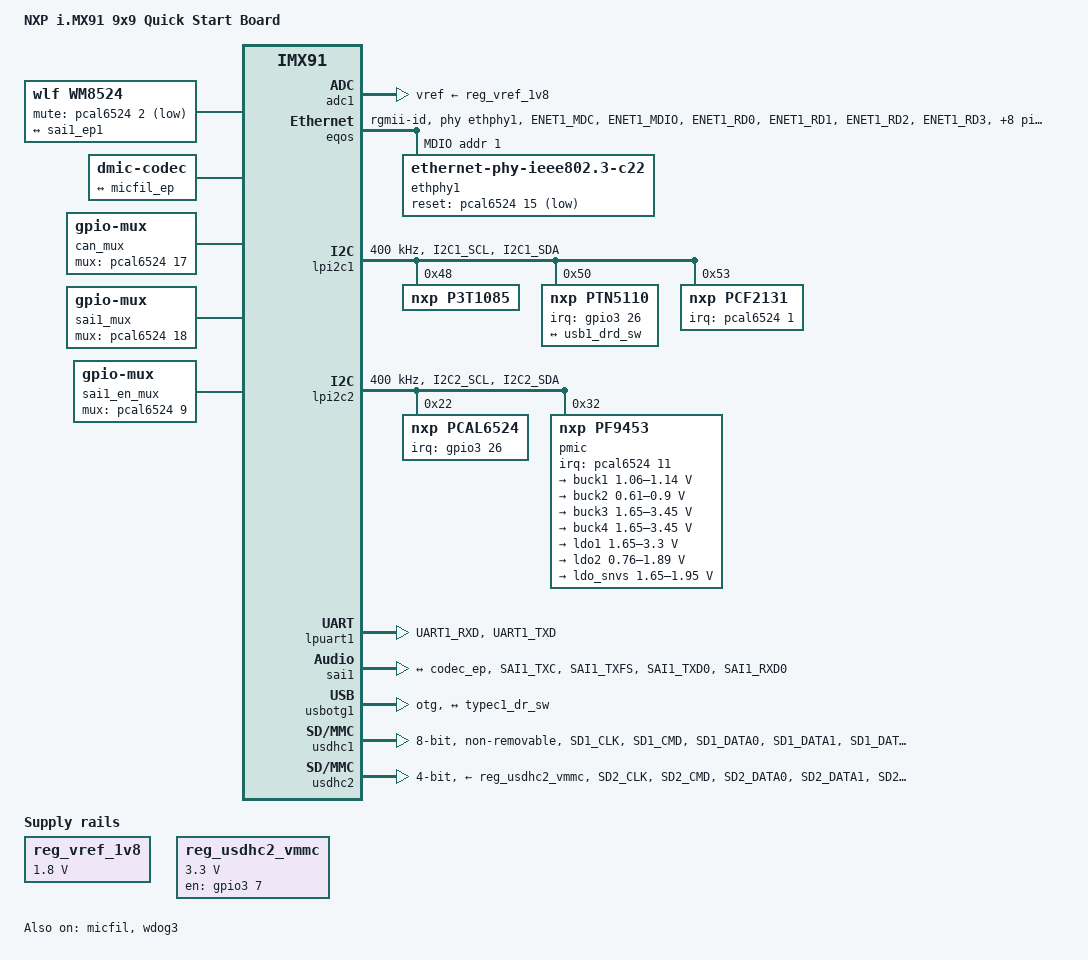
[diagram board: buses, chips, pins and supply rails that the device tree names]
// SPDX-License-Identifier: (GPL-2.0+ OR MIT)
/*
 * Copyright 2026 NXP
 */

/dts-v1/;

#include <dt-bindings/usb/pd.h>
#include "imx91.dtsi"

/ {
	compatible = "fsl,imx91-9x9-qsb", "fsl,imx91";
	model = "NXP i.MX91 9x9 Quick Start Board";

	aliases {
		ethernet0 = &fec;
		ethernet1 = &eqos;
		gpio0 = &gpio1;
		gpio1 = &gpio2;
		gpio2 = &gpio3;
		i2c0 = &lpi2c1;
		i2c1 = &lpi2c2;
		mmc0 = &usdhc1;
		mmc1 = &usdhc2;
		rtc0 = &bbnsm_rtc;
		serial0 = &lpuart1;
	};

	chosen {
		stdout-path = &lpuart1;
	};

	wm8524: audio-codec {
		compatible = "wlf,wm8524";
		#sound-dai-cells = <0>;
		wlf,mute-gpios = <&pcal6524 2 GPIO_ACTIVE_LOW>;

		port {
			codec_ep: endpoint {
				remote-endpoint = <&sai1_ep1>;
			};
		};
	};

	dmic: dmic {
		compatible = "dmic-codec";
		#sound-dai-cells = <0>;
		num-channels = <4>;

		port {
			dmic_ep: endpoint {
				remote-endpoint = <&micfil_ep>;
			};
		};
	};

	can_mux: mux-controller-0 {
		compatible = "gpio-mux";
		#mux-control-cells = <0>;
		#mux-state-cells = <1>;
		mux-gpios = <&pcal6524 17 GPIO_ACTIVE_HIGH>;
	};

	sai1_mux: mux-controller-1 {
		compatible = "gpio-mux";
		#mux-control-cells = <0>;
		#mux-state-cells = <1>;
		mux-gpios = <&pcal6524 18 GPIO_ACTIVE_HIGH>;
	};

	sai1_en_mux: mux-controller-2 {
		compatible = "gpio-mux";
		#mux-control-cells = <0>;
		#mux-state-cells = <1>;
		mux-gpios = <&pcal6524 9 GPIO_ACTIVE_HIGH>;
	};

	pinctrl-gpiomux {
		compatible = "pinctrl-multiplexer";

		can_fun: can-grp {
			mux-states = <&can_mux 1>;
		};

		m2_fun: m2-grp {
			mux-states = <&sai1_mux 1>;
		};

		pdm_fun: pdm-grp {
			mux-states = <&can_mux 0>;
		};

		sai1_disable: sai1-disable-grp {
			mux-states = <&sai1_en_mux 1>;
		};

		sai1_enable: sai1-enable-grp {
			mux-states = <&sai1_en_mux 0>;
		};

		sai1_fun: sai1-grp {
			mux-states = <&sai1_mux 0>;
		};
	};

	reg_vref_1v8: regulator-adc-vref {
		compatible = "regulator-fixed";
		regulator-name = "vref_1v8";
		regulator-max-microvolt = <1800000>;
		regulator-min-microvolt = <1800000>;
	};

	reg_usdhc2_vmmc: regulator-usdhc2 {
		compatible = "regulator-fixed";
		regulator-name = "VSD_3V3";
		off-on-delay-us = <12000>;
		pinctrl-0 = <&pinctrl_reg_usdhc2_vmmc>;
		pinctrl-names = "default";
		regulator-max-microvolt = <3300000>;
		regulator-min-microvolt = <3300000>;
		gpio = <&gpio3 7 GPIO_ACTIVE_HIGH>;
		enable-active-high;
	};

	reserved-memory {
		ranges;
		#address-cells = <2>;
		#size-cells = <2>;

		linux,cma {
			compatible = "shared-dma-pool";
			reusable;
			size = <0 0x10000000>;
			linux,cma-default;
		};
	};

	sound-micfil {
		compatible = "audio-graph-card2";
		label = "micfil-audio";
		links = <&micfil_port>;
	};

	sound-wm8524 {
		compatible = "audio-graph-card2";
		label = "wm8524-audio";
		links = <&sai1_port1>;
		widgets = "Line", "Line Out Jack";
		routing =
			"Line Out Jack", "LINEVOUTL",
			"Line Out Jack", "LINEVOUTR";
	};
};

&adc1 {
	vref-supply = <&reg_vref_1v8>;
	status = "okay";
};

&eqos {
	phy-handle = <&ethphy1>;
	phy-mode = "rgmii-id";
	pinctrl-0 = <&pinctrl_eqos>;
	pinctrl-names = "default";
	status = "okay";

	mdio {
		compatible = "snps,dwmac-mdio";
		#address-cells = <1>;
		#size-cells = <0>;

		ethphy1: ethernet-phy@1 {
			compatible = "ethernet-phy-ieee802.3-c22";
			reg = <1>;
			reset-gpios = <&pcal6524 15 GPIO_ACTIVE_LOW>;
			reset-assert-us = <10000>;
			reset-deassert-us = <80000>;
			realtek,clkout-disable;
		};
	};
};

&iomuxc {
	pinctrl_eqos: eqosgrp {
		fsl,pins = <
			MX91_PAD_ENET1_MDC__ENET1_MDC                           0x57e
			MX91_PAD_ENET1_MDIO__ENET_QOS_MDIO                      0x57e
			MX91_PAD_ENET1_RD0__ENET_QOS_RGMII_RD0                  0x57e
			MX91_PAD_ENET1_RD1__ENET_QOS_RGMII_RD1                  0x57e
			MX91_PAD_ENET1_RD2__ENET_QOS_RGMII_RD2                  0x57e
			MX91_PAD_ENET1_RD3__ENET_QOS_RGMII_RD3                  0x57e
			MX91_PAD_ENET1_RXC__ENET_QOS_RGMII_RXC                  0x5fe
			MX91_PAD_ENET1_RX_CTL__ENET_QOS_RGMII_RX_CTL            0x57e
			MX91_PAD_ENET1_TD0__ENET_QOS_RGMII_TD0                  0x57e
			MX91_PAD_ENET1_TD1__ENET1_RGMII_TD1                     0x57e
			MX91_PAD_ENET1_TD2__ENET_QOS_RGMII_TD2                  0x57e
			MX91_PAD_ENET1_TD3__ENET_QOS_RGMII_TD3                  0x57e
			MX91_PAD_ENET1_TXC__CCM_ENET_QOS_CLOCK_GENERATE_TX_CLK  0x5fe
			MX91_PAD_ENET1_TX_CTL__ENET_QOS_RGMII_TX_CTL            0x57e
		>;
	};

	pinctrl_lpi2c1: lpi2c1grp {
		fsl,pins = <
			MX91_PAD_I2C1_SCL__LPI2C1_SCL                           0x40000b9e
			MX91_PAD_I2C1_SDA__LPI2C1_SDA                           0x40000b9e
		>;
	};

	pinctrl_lpi2c2: lpi2c2grp {
		fsl,pins = <
			MX91_PAD_I2C2_SCL__LPI2C2_SCL                           0x40000b9e
			MX91_PAD_I2C2_SDA__LPI2C2_SDA                           0x40000b9e
		>;
	};

	pinctrl_pcal6524: pcal6524grp {
		fsl,pins = <
			MX91_PAD_CCM_CLKO1__GPIO3_IO26                          0x31e
		>;
	};

	pinctrl_pdm: pdmgrp {
		fsl,pins = <
			MX91_PAD_PDM_CLK__PDM_CLK				0x31e
			MX91_PAD_PDM_BIT_STREAM0__PDM_BIT_STREAM0		0x31e
			MX91_PAD_PDM_BIT_STREAM1__PDM_BIT_STREAM1		0x31e
		>;
	};

	pinctrl_reg_usdhc2_vmmc: regusdhc2vmmcgrp {
		fsl,pins = <
			MX91_PAD_SD2_RESET_B__GPIO3_IO7                         0x31e
		>;
	};

	pinctrl_sai1: sai1grp {
		fsl,pins = <
			MX91_PAD_SAI1_TXC__SAI1_TX_BCLK				0x31e
			MX91_PAD_SAI1_TXFS__SAI1_TX_SYNC			0x31e
			MX91_PAD_SAI1_TXD0__SAI1_TX_DATA0			0x31e
			MX91_PAD_SAI1_RXD0__SAI1_MCLK				0x31e
		>;
	};

	pinctrl_uart1: uart1grp {
		fsl,pins = <
			MX91_PAD_UART1_RXD__LPUART1_RX                          0x31e
			MX91_PAD_UART1_TXD__LPUART1_TX                          0x31e
		>;
	};

	pinctrl_usdhc1: usdhc1grp {
		fsl,pins = <
			MX91_PAD_SD1_CLK__USDHC1_CLK                            0x1582
			MX91_PAD_SD1_CMD__USDHC1_CMD                            0x1382
			MX91_PAD_SD1_DATA0__USDHC1_DATA0                        0x1382
			MX91_PAD_SD1_DATA1__USDHC1_DATA1                        0x1382
			MX91_PAD_SD1_DATA2__USDHC1_DATA2                        0x1382
			MX91_PAD_SD1_DATA3__USDHC1_DATA3                        0x1382
			MX91_PAD_SD1_DATA4__USDHC1_DATA4                        0x1382
			MX91_PAD_SD1_DATA5__USDHC1_DATA5                        0x1382
			MX91_PAD_SD1_DATA6__USDHC1_DATA6                        0x1382
			MX91_PAD_SD1_DATA7__USDHC1_DATA7                        0x1382
			MX91_PAD_SD1_STROBE__USDHC1_STROBE                      0x1582
		>;
	};

	pinctrl_usdhc1_100mhz: usdhc1-100mhzgrp {
		fsl,pins = <
			MX91_PAD_SD1_CLK__USDHC1_CLK                            0x158e
			MX91_PAD_SD1_CMD__USDHC1_CMD                            0x138e
			MX91_PAD_SD1_DATA0__USDHC1_DATA0                        0x138e
			MX91_PAD_SD1_DATA1__USDHC1_DATA1                        0x138e
			MX91_PAD_SD1_DATA2__USDHC1_DATA2                        0x138e
			MX91_PAD_SD1_DATA3__USDHC1_DATA3                        0x138e
			MX91_PAD_SD1_DATA4__USDHC1_DATA4                        0x138e
			MX91_PAD_SD1_DATA5__USDHC1_DATA5                        0x138e
			MX91_PAD_SD1_DATA6__USDHC1_DATA6                        0x138e
			MX91_PAD_SD1_DATA7__USDHC1_DATA7                        0x138e
			MX91_PAD_SD1_STROBE__USDHC1_STROBE                      0x158e
		>;
	};

	pinctrl_usdhc1_200mhz: usdhc1-200mhzgrp {
		fsl,pins = <
			MX91_PAD_SD1_CLK__USDHC1_CLK                            0x15fe
			MX91_PAD_SD1_CMD__USDHC1_CMD                            0x13fe
			MX91_PAD_SD1_DATA0__USDHC1_DATA0                        0x13fe
			MX91_PAD_SD1_DATA1__USDHC1_DATA1                        0x13fe
			MX91_PAD_SD1_DATA2__USDHC1_DATA2                        0x13fe
			MX91_PAD_SD1_DATA3__USDHC1_DATA3                        0x13fe
			MX91_PAD_SD1_DATA4__USDHC1_DATA4                        0x13fe
			MX91_PAD_SD1_DATA5__USDHC1_DATA5                        0x13fe
			MX91_PAD_SD1_DATA6__USDHC1_DATA6                        0x13fe
			MX91_PAD_SD1_DATA7__USDHC1_DATA7                        0x13fe
			MX91_PAD_SD1_STROBE__USDHC1_STROBE                      0x15fe
		>;
	};

	pinctrl_usdhc2_gpio: usdhc2gpiogrp {
		fsl,pins = <
			MX91_PAD_SD2_CD_B__GPIO3_IO0                            0x31e
		>;
	};

	pinctrl_usdhc2: usdhc2grp {
		fsl,pins = <
			MX91_PAD_SD2_CLK__USDHC2_CLK                            0x1582
			MX91_PAD_SD2_CMD__USDHC2_CMD                            0x1382
			MX91_PAD_SD2_DATA0__USDHC2_DATA0                        0x1382
			MX91_PAD_SD2_DATA1__USDHC2_DATA1                        0x1382
			MX91_PAD_SD2_DATA2__USDHC2_DATA2                        0x1382
			MX91_PAD_SD2_DATA3__USDHC2_DATA3                        0x1382
			MX91_PAD_SD2_VSELECT__USDHC2_VSELECT                    0x51e
		>;
	};

	pinctrl_usdhc2_100mhz: usdhc2-100mhzgrp {
		fsl,pins = <
			MX91_PAD_SD2_CLK__USDHC2_CLK                            0x158e
			MX91_PAD_SD2_CMD__USDHC2_CMD                            0x138e
			MX91_PAD_SD2_DATA0__USDHC2_DATA0                        0x138e
			MX91_PAD_SD2_DATA1__USDHC2_DATA1                        0x138e
			MX91_PAD_SD2_DATA2__USDHC2_DATA2                        0x138e
			MX91_PAD_SD2_DATA3__USDHC2_DATA3                        0x138e
			MX91_PAD_SD2_VSELECT__USDHC2_VSELECT                    0x51e
		>;
	};

	pinctrl_usdhc2_200mhz: usdhc2-200mhzgrp {
		fsl,pins = <
			MX91_PAD_SD2_CLK__USDHC2_CLK                            0x15fe
			MX91_PAD_SD2_CMD__USDHC2_CMD                            0x13fe
			MX91_PAD_SD2_DATA0__USDHC2_DATA0                        0x13fe
			MX91_PAD_SD2_DATA1__USDHC2_DATA1                        0x13fe
			MX91_PAD_SD2_DATA2__USDHC2_DATA2                        0x13fe
			MX91_PAD_SD2_DATA3__USDHC2_DATA3                        0x13fe
			MX91_PAD_SD2_VSELECT__USDHC2_VSELECT                    0x51e
		>;
	};

	pinctrl_wdog: wdoggrp {
		fsl,pins = <
			MX91_PAD_WDOG_ANY__WDOG1_WDOG_ANY	0x31e
		>;
	};
};

&lpi2c1 {
	clock-frequency = <400000>;
	pinctrl-0 = <&pinctrl_lpi2c1>;
	pinctrl-names = "default";
	status = "okay";

	p3t1085: temperature-sensor@48 {
		compatible = "nxp,p3t1085";
		reg = <0x48>;
	};

	ptn5110: tcpc@50 {
		compatible = "nxp,ptn5110", "tcpci";
		reg = <0x50>;
		interrupt-parent = <&gpio3>;
		interrupts = <26 IRQ_TYPE_LEVEL_LOW>;

		typec1_con: connector {
			compatible = "usb-c-connector";
			data-role = "dual";
			label = "USB-C";
			op-sink-microwatt = <15000000>;
			power-role = "dual";
			self-powered;
			sink-pdos = <PDO_FIXED(5000, 3000, PDO_FIXED_USB_COMM)
				     PDO_VAR(5000, 20000, 3000)>;
			source-pdos = <PDO_FIXED(5000, 3000, PDO_FIXED_USB_COMM)>;
			try-power-role = "sink";

			ports {
				#address-cells = <1>;
				#size-cells = <0>;

				port@0 {
					reg = <0>;
					typec1_dr_sw: endpoint {
						remote-endpoint = <&usb1_drd_sw>;
					};
				};
			};
		};
	};

	pcf2131: rtc@53 {
		compatible = "nxp,pcf2131";
		reg = <0x53>;
		interrupt-parent = <&pcal6524>;
		interrupts = <1 IRQ_TYPE_EDGE_FALLING>;
	};
};

&lpi2c2 {
	clock-frequency = <400000>;
	pinctrl-0 = <&pinctrl_lpi2c2>;
	pinctrl-names = "default";
	status = "okay";

	pcal6524: gpio@22 {
		compatible = "nxp,pcal6524";
		reg = <0x22>;
		#interrupt-cells = <2>;
		interrupt-controller;
		interrupt-parent = <&gpio3>;
		interrupts = <26 IRQ_TYPE_LEVEL_LOW>;
		#gpio-cells = <2>;
		gpio-controller;
		pinctrl-0 = <&pinctrl_pcal6524>;
		pinctrl-names = "default";
	};

	pmic@32 {
		compatible = "nxp,pf9453";
		reg = <0x32>;
		interrupt-parent = <&pcal6524>;
		interrupts = <11 IRQ_TYPE_EDGE_FALLING>;

		regulators {
			buck1: BUCK1 {
				regulator-name = "BUCK1";
				regulator-always-on;
				regulator-boot-on;
				regulator-max-microvolt = <1140000>;
				regulator-min-microvolt = <1060000>;
			};

			buck2: BUCK2 {
				regulator-name = "BUCK2";
				regulator-always-on;
				regulator-boot-on;
				regulator-max-microvolt = <900000>;
				regulator-min-microvolt = <610000>;
				regulator-ramp-delay = <12500>;
			};

			buck3: BUCK3 {
				regulator-name = "BUCK3";
				regulator-always-on;
				regulator-boot-on;
				regulator-max-microvolt = <3450000>;
				regulator-min-microvolt = <1650000>;
			};

			buck4: BUCK4 {
				regulator-name = "BUCK4";
				regulator-always-on;
				regulator-boot-on;
				regulator-max-microvolt = <3450000>;
				regulator-min-microvolt = <1650000>;
			};

			ldo1: LDO1 {
				regulator-name = "LDO1";
				regulator-always-on;
				regulator-boot-on;
				regulator-max-microvolt = <3300000>;
				regulator-min-microvolt = <1650000>;
			};

			ldo2: LDO2 {
				regulator-name = "LDO2";
				regulator-always-on;
				regulator-boot-on;
				regulator-max-microvolt = <1890000>;
				regulator-min-microvolt = <760000>;
			};

			ldo_snvs: LDO-SNVS {
				regulator-name = "LDO-SNVS";
				regulator-always-on;
				regulator-boot-on;
				regulator-max-microvolt = <1950000>;
				regulator-min-microvolt = <1650000>;
			};
		};
	};
};

&lpuart1 {
	pinctrl-0 = <&pinctrl_uart1>;
	pinctrl-names = "default";
	status = "okay";
};

&micfil {
	#sound-dai-cells = <0>;
	pinctrl-names = "default";
	pinctrl-0 = <&pinctrl_pdm>, <&pdm_fun>;
	assigned-clocks = <&clk IMX93_CLK_PDM>;
	assigned-clock-parents = <&clk IMX93_CLK_AUDIO_PLL>;
	assigned-clock-rates = <49152000>;
	status = "okay";

	micfil_port: port {
		capture-only;

		micfil_ep: endpoint {
			remote-endpoint = <&dmic_ep>;
		};
	};
};

&sai1 {
	#sound-dai-cells = <0>;
	pinctrl-names = "default";
	pinctrl-0 = <&pinctrl_sai1>, <&sai1_fun>, <&sai1_enable>;
	assigned-clocks = <&clk IMX93_CLK_SAI1>;
	assigned-clock-parents = <&clk IMX93_CLK_AUDIO_PLL>;
	assigned-clock-rates = <24576000>;
	clocks = <&clk IMX93_CLK_SAI1_IPG>, <&clk IMX93_CLK_DUMMY>,
		 <&clk IMX93_CLK_SAI1_GATE>, <&clk IMX93_CLK_DUMMY>,
		 <&clk IMX93_CLK_DUMMY>, <&clk IMX93_CLK_AUDIO_PLL>;
	clock-names = "bus", "mclk0", "mclk1", "mclk2", "mclk3", "pll8k";
	fsl,sai-mclk-direction-output;
	status = "okay";

	ports {
		#address-cells = <1>;
		#size-cells = <0>;

		sai1_port1: port@1 {
			reg = <1>;
			playback-only;

			sai1_ep1: endpoint {
				dai-format = "i2s";
				dai-tdm-slot-num = <2>;
				dai-tdm-slot-width = <32>;
				bitclock-master;
				frame-master;
				mclk-fs = <256>;
				system-clock-direction-out;
				remote-endpoint = <&codec_ep>;
			};
		};
	};
};

&usbotg1 {
	adp-disable;
	disable-over-current;
	dr_mode = "otg";
	hnp-disable;
	srp-disable;
	usb-role-switch;
	samsung,picophy-dc-vol-level-adjust = <7>;
	samsung,picophy-pre-emp-curr-control = <3>;
	status = "okay";

	port {
		usb1_drd_sw: endpoint {
			remote-endpoint = <&typec1_dr_sw>;
		};
	};
};

&usdhc1 {
	bus-width = <8>;
	non-removable;
	pinctrl-0 = <&pinctrl_usdhc1>;
	pinctrl-1 = <&pinctrl_usdhc1_100mhz>;
	pinctrl-2 = <&pinctrl_usdhc1_200mhz>;
	pinctrl-names = "default", "state_100mhz", "state_200mhz";
	fsl,tuning-step = <1>;
	status = "okay";
};

&usdhc2 {
	bus-width = <4>;
	cd-gpios = <&gpio3 0 GPIO_ACTIVE_LOW>;
	no-mmc;
	no-sdio;
	pinctrl-0 = <&pinctrl_usdhc2>, <&pinctrl_usdhc2_gpio>;
	pinctrl-1 = <&pinctrl_usdhc2_100mhz>, <&pinctrl_usdhc2_gpio>;
	pinctrl-2 = <&pinctrl_usdhc2_200mhz>, <&pinctrl_usdhc2_gpio>;
	pinctrl-names = "default", "state_100mhz", "state_200mhz";
	vmmc-supply = <&reg_usdhc2_vmmc>;
	fsl,tuning-step = <1>;
	status = "okay";
};

&wdog3 {
	pinctrl-names = "default";
	pinctrl-0 = <&pinctrl_wdog>;
	fsl,ext-reset-output;
	status = "okay";
};
